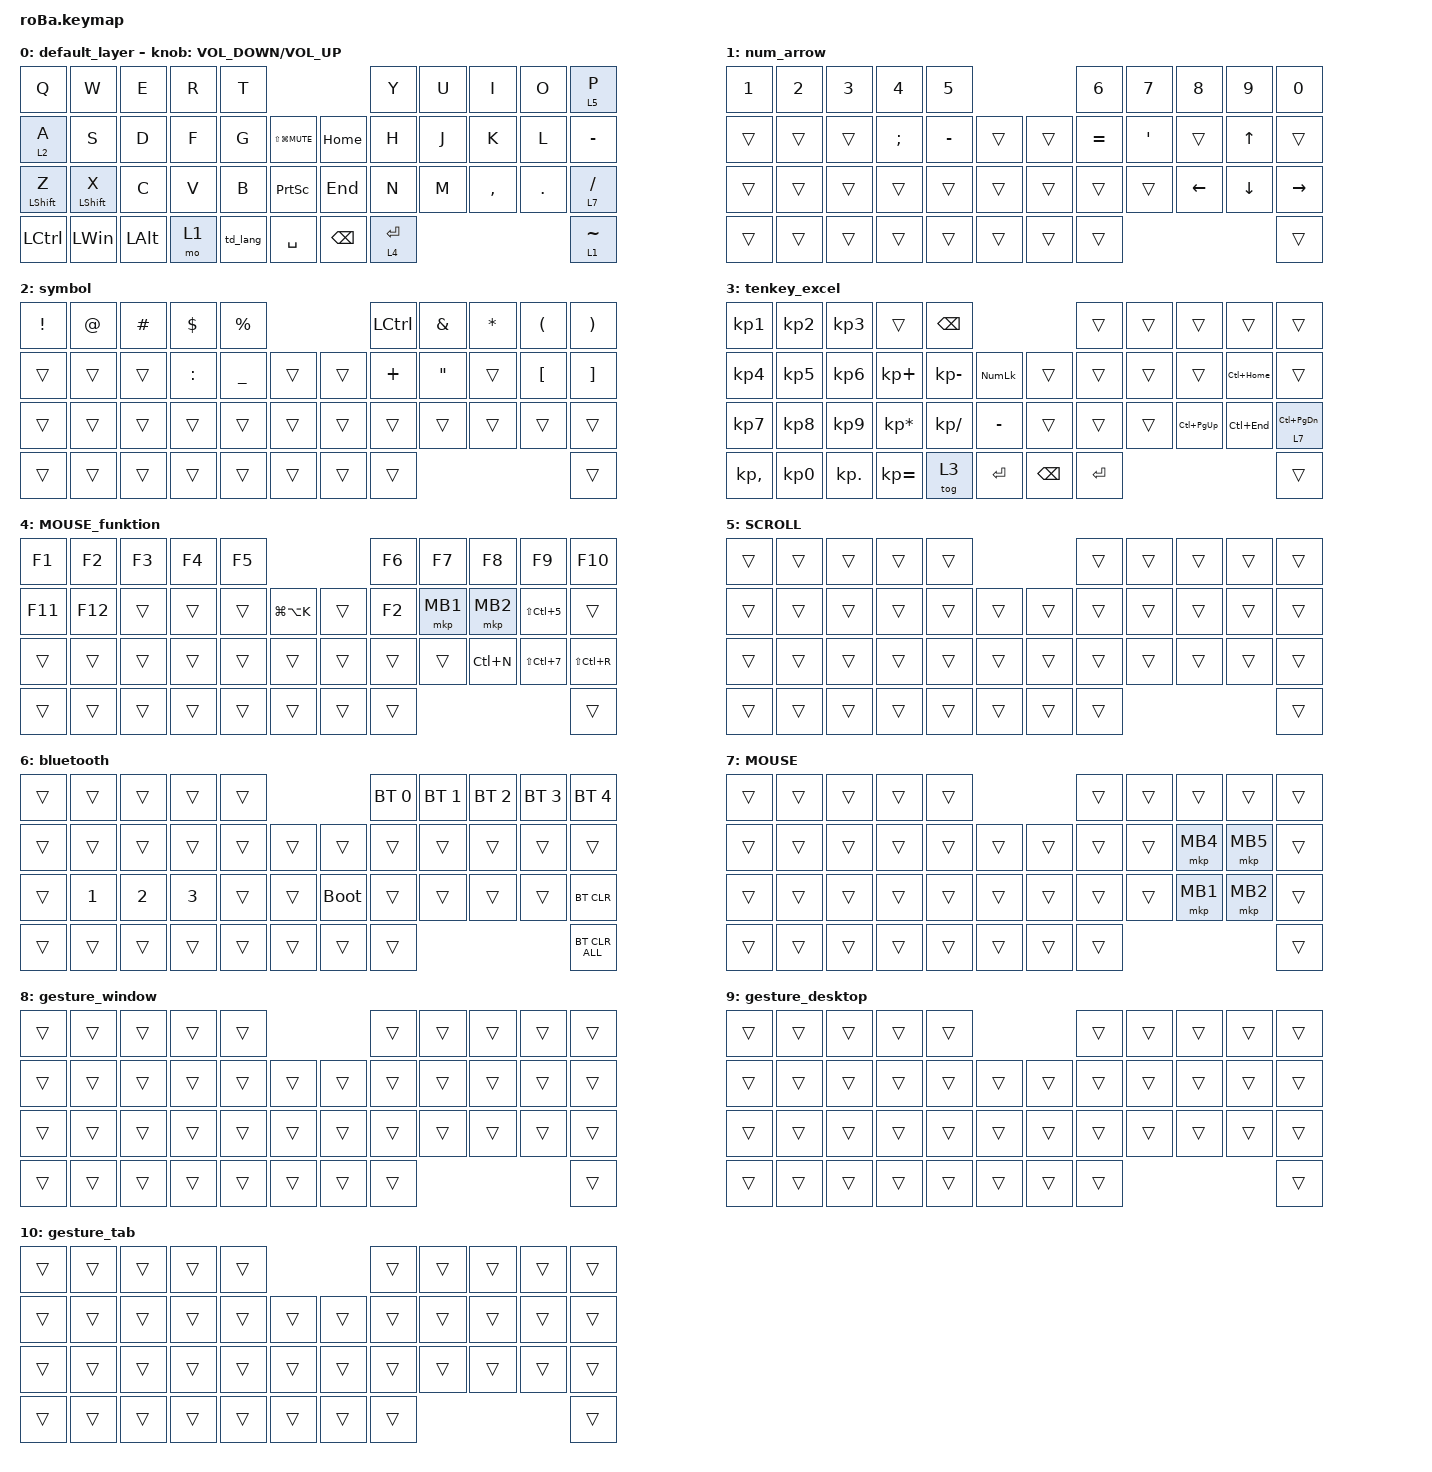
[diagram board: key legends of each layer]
#include <behaviors.dtsi>
#include <dt-bindings/zmk/bt.h>
#include <dt-bindings/zmk/keys.h>
#include <dt-bindings/zmk/pointing.h>

&mt {
    flavor = "balanced";
    quick-tap-ms = <0>;
};

&trackball {
    // automouse-layer = <4>;

    scroll-layers = <5>;

    window {
        layers = <8>;
        bindings =
            <&kp LG(RIGHT_ARROW)>,
            <&kp LG(LEFT_ARROW)>,
            <&kp LG(UP_ARROW)>,
            <&kp LG(DOWN_ARROW)>;

        tick = <300>;
        wait-ms = <5>;
        tap-ms = <5>;
    };

    desktop {
        layers = <9>;
        bindings =
            <&kp LC(LS(F2))>,
            <&kp LC(LS(F1))>,
            <&kp LC(LS(F3))>,
            <&kp LC(LS(F4))>;

        tick = <300>;
        wait-ms = <5>;
        tap-ms = <5>;
    };

    tab {
        layers = <10>;
        bindings =
            <&kp LC(TAB)>,
            <&kp LC(LS(TAB))>,
            <&kp LC(T)>,
            <&kp LC(W)>;

        tick = <300>;
        wait-ms = <5>;
        tap-ms = <5>;
    };
};

/ {
    combos {
        compatible = "zmk,combos";

        tab {
            bindings = <&kp TAB>;
            key-positions = <0 1>;
        };

        shift_tab {
            bindings = <&kp LS(TAB)>;
            key-positions = <10 11>;
        };

        bluetooth {
            bindings = <&mo 6>;
            key-positions = <39 40>;
        };

        to_L8 {
            bindings = <&mo 8>;
            key-positions = <8 9>;
        };

        to_L9 {
            bindings = <&lt 9 LC(LG(RIGHT_ARROW))>;
            key-positions = <20 21>;
        };

        to_L10 {
            bindings = <&mo 10>;
            key-positions = <32 33>;
        };

        mb_for_drug {
            bindings = <&mkp MB1>;
            key-positions = <19 20>;
        };

        delete {
            bindings = <&kp DELETE>;
            key-positions = <40 28>;
        };

        esc {
            bindings = <&kp ESCAPE>;
            key-positions = <1 2>;
        };
    };

    macros {
        to_layer_0: to_layer_0 {
            compatible = "zmk,behavior-macro-one-param";
            #binding-cells = <1>;
            bindings = <&to 0 &macro_param_1to1 &kp MACRO_PLACEHOLDER>;
            label = "TO_LAYER_0";
        };
    };

    behaviors {
        lt_to_layer_0: lt_to_layer_0 {
            compatible = "zmk,behavior-hold-tap";
            label = "LAYER_TAP_TO_0";
            bindings = <&mo>, <&to_layer_0>;

            #binding-cells = <2>;
            tapping-term-ms = <200>;
        };

        td_lang: td_lang {
            compatible = "zmk,behavior-tap-dance";
            label = "TD_LANG";
            #binding-cells = <0>;
            bindings = <&lt 3 LANGUAGE_2>, <&kp LANGUAGE_1>;

            tapping-term-ms = <200>;
        };

        lt_layer: lt_layer {
            compatible = "zmk,behavior-hold-tap";
            label = "LT_LAYER";
            #binding-cells = <2>;
            bindings = <&mo>, <&tog>;

            tapping-term-ms = <200>;
            flavor = "balanced";
        };
    };

    keymap {
        compatible = "zmk,keymap";

        default_layer {
            bindings = <
&kp Q             &kp W             &kp E         &kp R  &kp T                                            &kp Y        &kp U  &kp I      &kp O    &lt 5 P
&lt 2 A           &kp S             &kp D         &kp F  &kp G     &kp LS(LG(C_MUTE))      &kp HOME       &kp H        &kp J  &kp K      &kp L    &kp MINUS
&mt LEFT_SHIFT Z  &mt LEFT_SHIFT X  &kp C         &kp V  &kp B     &kp PRINTSCREEN         &kp END        &kp N        &kp M  &kp COMMA  &kp DOT  &lt 7 SLASH
&kp LCTRL         &kp LEFT_WIN      &kp LEFT_ALT  &mo 1  &td_lang  &kp SPACE               &kp BACKSPACE  &lt 4 ENTER                             &lt 1 TILDE
            >;

            sensor-bindings = <&inc_dec_kp C_VOLUME_DOWN C_VOLUME_UP>;
        };

        num_arrow {
            bindings = <
&kp N1  &kp N2  &kp N3  &kp N4         &kp N5                         &kp N6     &kp N7   &kp N8          &kp N9          &kp N0
&trans  &trans  &trans  &kp SEMICOLON  &kp MINUS  &trans      &trans  &kp EQUAL  &kp SQT  &trans          &kp UP_ARROW    &trans
&trans  &trans  &trans  &trans         &trans     &trans      &trans  &trans     &trans   &kp LEFT_ARROW  &kp DOWN_ARROW  &kp RIGHT_ARROW
&trans  &trans  &trans  &trans         &trans     &trans      &trans  &trans                                              &trans
            >;
        };

        symbol {
            bindings = <
&kp EXCLAMATION  &kp AT_SIGN  &kp HASH  &kp DOLLAR  &kp PERCENT                         &kp LCTRL  &kp AMPERSAND      &kp ASTERISK  &kp LEFT_PARENTHESIS  &kp RIGHT_PARENTHESIS
&trans           &trans       &trans    &kp COLON   &kp UNDERSCORE  &trans      &trans  &kp PLUS   &kp DOUBLE_QUOTES  &trans        &kp LEFT_BRACKET      &kp RIGHT_BRACKET
&trans           &trans       &trans    &trans      &trans          &trans      &trans  &trans     &trans             &trans        &trans                &trans
&trans           &trans       &trans    &trans      &trans          &trans      &trans  &trans                                                            &trans
            >;
        };

        tenkey_excel {
            bindings = <
&kp KP_NUMBER_1  &kp KP_NUMBER_2  &kp KP_NUMBER_3  &trans           &kp BACKSPACE                                     &trans     &trans  &trans           &trans        &trans
&kp KP_NUMBER_4  &kp KP_NUMBER_5  &kp KP_NUMBER_6  &kp KP_PLUS      &kp KP_MINUS   &kp KP_NUMLOCK      &trans         &trans     &trans  &trans           &kp LC(HOME)  &trans
&kp KP_NUMBER_7  &kp KP_NUMBER_8  &kp KP_NUMBER_9  &kp KP_MULTIPLY  &kp KP_SLASH   &kp MINUS           &trans         &trans     &trans  &kp LC(PAGE_UP)  &kp LC(END)   &lt 7 LC(PAGE_DOWN)
&kp KP_COMMA     &kp KP_NUMBER_0  &kp KP_DOT       &kp KP_EQUAL     &tog 3         &kp ENTER           &kp BACKSPACE  &kp ENTER                                         &trans
            >;
        };

        MOUSE_funktion {
            bindings = <
&kp F1   &kp F2   &kp F3  &kp F4  &kp F5                             &kp F6  &kp F7    &kp F8     &kp F9          &kp F10
&kp F11  &kp F12  &trans  &trans  &trans  &kp LG(LA(K))      &trans  &kp F2  &mkp MB1  &mkp MB2   &kp LS(LC(N5))  &trans
&trans   &trans   &trans  &trans  &trans  &trans             &trans  &trans  &trans    &kp LC(N)  &kp LS(LC(N7))  &kp LS(LC(R))
&trans   &trans   &trans  &trans  &trans  &trans             &trans  &trans                                       &trans
            >;
        };

        SCROLL {
            bindings = <
&trans  &trans  &trans  &trans  &trans                      &trans  &trans  &trans  &trans  &trans
&trans  &trans  &trans  &trans  &trans  &trans      &trans  &trans  &trans  &trans  &trans  &trans
&trans  &trans  &trans  &trans  &trans  &trans      &trans  &trans  &trans  &trans  &trans  &trans
&trans  &trans  &trans  &trans  &trans  &trans      &trans  &trans                          &trans
            >;
        };

        bluetooth {
            bindings = <
&trans  &trans        &trans        &trans        &trans                           &bt BT_SEL 0  &bt BT_SEL 1  &bt BT_SEL 2  &bt BT_SEL 3  &bt BT_SEL 4
&trans  &trans        &trans        &trans        &trans  &trans      &trans       &trans        &trans        &trans        &trans        &trans
&trans  &kp NUMBER_1  &kp NUMBER_2  &kp NUMBER_3  &trans  &trans      &bootloader  &trans        &trans        &trans        &trans        &bt BT_CLR
&trans  &trans        &trans        &trans        &trans  &trans      &trans       &trans                                                  &bt BT_CLR_ALL
            >;
        };

        MOUSE {
            bindings = <
&trans  &trans  &trans  &trans  &trans                      &trans  &trans  &trans    &trans    &trans
&trans  &trans  &trans  &trans  &trans  &trans      &trans  &trans  &trans  &mkp MB4  &mkp MB5  &trans
&trans  &trans  &trans  &trans  &trans  &trans      &trans  &trans  &trans  &mkp MB1  &mkp MB2  &trans
&trans  &trans  &trans  &trans  &trans  &trans      &trans  &trans                              &trans
            >;
        };

        gesture_window {
            bindings = <
&trans  &trans  &trans  &trans  &trans                      &trans  &trans  &trans  &trans  &trans
&trans  &trans  &trans  &trans  &trans  &trans      &trans  &trans  &trans  &trans  &trans  &trans
&trans  &trans  &trans  &trans  &trans  &trans      &trans  &trans  &trans  &trans  &trans  &trans
&trans  &trans  &trans  &trans  &trans  &trans      &trans  &trans                          &trans
            >;
        };

        gesture_desktop {
            bindings = <
&trans  &trans  &trans  &trans  &trans                      &trans  &trans  &trans  &trans  &trans
&trans  &trans  &trans  &trans  &trans  &trans      &trans  &trans  &trans  &trans  &trans  &trans
&trans  &trans  &trans  &trans  &trans  &trans      &trans  &trans  &trans  &trans  &trans  &trans
&trans  &trans  &trans  &trans  &trans  &trans      &trans  &trans                          &trans
            >;
        };

        gesture_tab {
            bindings = <
&trans  &trans  &trans  &trans  &trans                      &trans  &trans  &trans  &trans  &trans
&trans  &trans  &trans  &trans  &trans  &trans      &trans  &trans  &trans  &trans  &trans  &trans
&trans  &trans  &trans  &trans  &trans  &trans      &trans  &trans  &trans  &trans  &trans  &trans
&trans  &trans  &trans  &trans  &trans  &trans      &trans  &trans                          &trans
            >;
        };
    };
};
